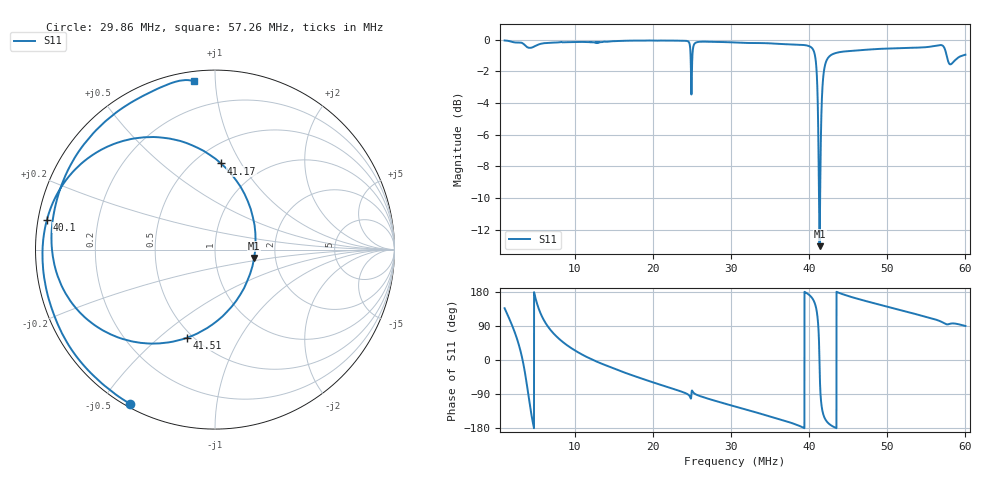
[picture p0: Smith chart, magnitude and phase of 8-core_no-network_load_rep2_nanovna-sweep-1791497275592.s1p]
! NanoVNA Web complex sweep
! Processing: unaveraged complex samples; linear segment spacing; no smoothing
# Hz S RI R 50
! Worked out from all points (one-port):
!   5050 points, 1 MHz to 60 MHz, reference 50 ohm
!   lowest |S11| = -13.0 dB at 41.32 MHz (marker M1), VSWR 1.57, Z = 77.4 - j7.7 ohm
!   |S11| at or under -10 dB: 41.24748 MHz to 41.39921 MHz (151.7 kHz wide, 0.367 % of centre)
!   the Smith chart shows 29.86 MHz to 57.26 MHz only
!   S11 on the Smith chart (normalised r, x): 29.86 MHz: 0.01, -0.59; 40.1 MHz: 0.03, +0.09; 41.17 MHz: 0.66, +0.82; 41.51 MHz: 0.47, -0.62; 57.26 MHz: 0.05, +0.88
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1000000  -0.7222 0.6822
2250295  0.2397 0.9505
3173410  0.9554 0.2044
3582385  0.8278 -0.4884
4026415  0.00235 -0.9432
4388650  -0.7092 -0.621
4704145  -0.9439 -0.0946
5194915  -0.7967 0.5388
5732425  -0.4422 0.8647
8384920  0.6487 0.7351
1.132954e7  0.9675 0.17
1.575816e7  0.8694 -0.4742
2.313139e7  0.1753 -0.9765
2.986195e7  -0.4757 -0.8577
3.050462e7  -0.5302 -0.8231
3.787786e7  -0.9414 -0.2144
4.009801e7  -0.9361 0.1675
4.069394e7  -0.7879 0.4376
4.09627e7  -0.4899 0.6111
4.117303e7  0.0331 0.4803
4.132494e7  0.2179 -0.0472
4.15119e7  -0.1561 -0.4908
4.188582e7  -0.679 -0.415
4.232984e7  -0.8367 -0.2368
4.52511e7  -0.8976 0.2039
5.262433e7  -0.5606 0.7563
5.726328e7  -0.1181 0.9379
5.999756e7  0.00244 0.8958
